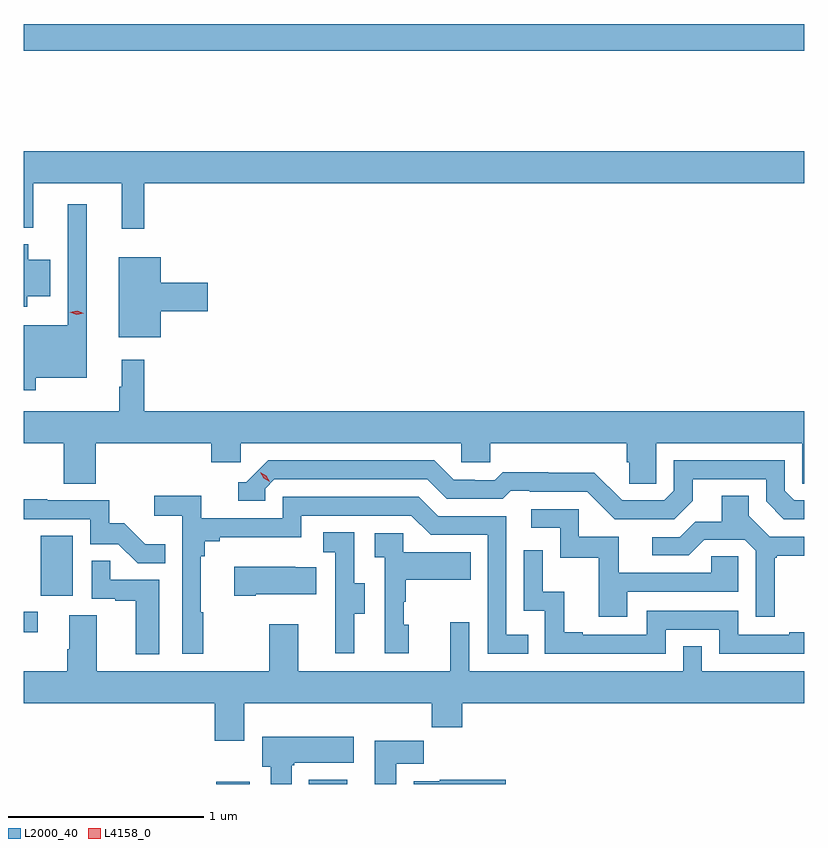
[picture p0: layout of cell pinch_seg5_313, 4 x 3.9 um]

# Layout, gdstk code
import gdstk
lib = gdstk.Library(unit=1e-6, precision=1e-09)
def R(c, l, rs):  # rectangles x0, y0, x1, y1
    for r in rs: c.add(gdstk.rectangle(r[:2], r[2:], *l))
def P(c, l, *ps):  # polygons
    for p in ps: c.add(gdstk.Polygon(p, *l))
L2000_40 = (2000, 40)
L4158_0 = (4158, 0)

pinch_seg5_313 = lib.new_cell('pinch_seg5_313')
R(pinch_seg5_313, L2000_40, [(913.028,882.985,913.198,882.997), (913.502,882.985,913.699,883.006), (912.041,883.764,912.112,883.869), (912.128,883.95,912.292,884.257), (912.041,886.744,916.041,886.88)])
P(pinch_seg5_313, L2000_40, [(912.659,886.064),(916.041,886.064),(916.041,886.228),(912.041,886.228),(912.041,885.836),(912.089,885.836),(912.089,886.064),(912.542,886.064),(912.542,885.831),(912.659,885.831)],
  [(912.103,885.068),(912.364,885.068),(912.364,885.955),(912.267,885.955),(912.267,885.337),(912.041,885.337),(912.041,885.003),(912.103,885.003)],
  [(912.058,885.485),(912.178,885.485),(912.178,885.673),(912.064,885.673),(912.064,885.751),(912.041,885.751),(912.041,885.432),(912.058,885.432)],
  [(912.742,885.407),(912.985,885.407),(912.985,885.554),(912.742,885.554),(912.742,885.685),(912.527,885.685),(912.527,885.275),(912.742,885.275)],
  [(912.659,885.16),(912.542,885.16),(912.542,885.02),(912.531,885.02),(912.531,884.896),(912.041,884.896),(912.041,884.732),(912.245,884.732),(912.245,884.524),(912.41,884.524),(912.41,884.732),(913.001,884.732),(913.001,884.634),(913.152,884.634),(913.152,884.732),(914.283,884.732),(914.283,884.634),(914.433,884.634),(914.433,884.732),(915.131,884.732),(915.131,884.634),(915.145,884.634),(915.145,884.524),(915.282,884.524),(915.282,884.732),(916.032,884.732),(916.032,884.524),(916.041,884.524),(916.041,884.896),(912.659,884.896)],
  [(915.469,884.437),(915.469,884.547),(915.846,884.547),(915.846,884.433),(915.936,884.343),(916.041,884.343),(916.041,884.439),(915.99,884.439),(915.942,884.487),(915.942,884.643),(915.372,884.643),(915.372,884.487),(915.324,884.439),(915.108,884.439),(914.966,884.581),(914.73,884.581),(914.73,884.584),(914.497,884.584),(914.455,884.541),(914.352,884.541),(914.352,884.544),(914.245,884.544),(914.146,884.643),(913.293,884.643),(913.182,884.532),(913.139,884.532),(913.139,884.436),(913.278,884.436),(913.278,884.499),(913.326,884.547),(914.109,884.547),(914.208,884.448),(914.497,884.448),(914.536,884.487),(914.635,884.487),(914.635,884.484),(914.928,884.484),(915.069,884.343),(915.375,884.343)],
  [(915.889,884.145),(915.901,884.145),(915.901,884.156),(916.041,884.156),(916.041,884.253),(915.864,884.253),(915.757,884.36),(915.757,884.462),(915.617,884.462),(915.617,884.33),(915.482,884.33),(915.402,884.25),(915.261,884.25),(915.261,884.157),(915.448,884.157),(915.529,884.238),(915.735,884.238),(915.792,884.181),(915.792,883.842),(915.889,883.842)],
  [(912.961,883.865),(912.949,883.865),(912.949,884.153),(912.968,884.153),(912.968,884.23),(913.045,884.23),(913.045,884.249),(913.464,884.249),(913.464,884.361),(914.028,884.361),(914.127,884.262),(914.418,884.262),(914.418,883.653),(914.627,883.653),(914.627,883.749),(914.514,883.749),(914.514,884.358),(914.164,884.358),(914.065,884.457),(913.368,884.457),(913.368,884.346),(912.95,884.346),(912.95,884.462),(912.711,884.462),(912.711,884.36),(912.852,884.36),(912.852,883.653),(912.961,883.653)],
  [(912.767,884.215),(912.663,884.215),(912.556,884.322),(912.48,884.322),(912.48,884.439),(912.161,884.439),(912.161,884.444),(912.041,884.444),(912.041,884.343),(912.381,884.343),(912.381,884.214),(912.526,884.214),(912.624,884.116),(912.767,884.116)],
  [(915.133,883.971),(915.702,883.971),(915.702,884.151),(915.565,884.151),(915.565,884.067),(915.091,884.067),(915.091,884.253),(914.886,884.253),(914.886,884.394),(914.643,884.394),(914.643,884.298),(914.79,884.298),(914.79,884.145),(914.989,884.145),(914.989,883.842),(915.133,883.842)],
  [(913.735,883.858),(913.789,883.858),(913.789,884.013),(913.734,884.013),(913.734,884.276),(913.575,884.276),(913.575,884.173),(913.638,884.173),(913.638,883.869),(913.637,883.869),(913.637,883.656),(913.735,883.656)],
  [(914.014,883.8),(913.989,883.8),(913.989,883.919),(913.999,883.919),(913.999,884.033),(914.333,884.033),(914.333,884.173),(913.986,884.173),(913.986,884.271),(913.839,884.271),(913.839,884.147),(913.89,884.147),(913.89,883.656),(914.014,883.656)],
  [(915.33,883.776),(915.606,883.776),(915.606,883.653),(916.041,883.653),(916.041,883.762),(915.965,883.762),(915.965,883.749),(915.702,883.749),(915.702,883.872),(915.234,883.872),(915.234,883.749),(914.905,883.749),(914.905,883.762),(914.81,883.762),(914.81,883.97),(914.7,883.97),(914.7,884.182),(914.604,884.182),(914.604,883.872),(914.712,883.872),(914.712,883.653),(915.33,883.653)],
  [(912.736,884.031),(912.485,884.031),(912.485,884.129),(912.39,884.129),(912.39,883.935),(912.511,883.935),(912.511,883.923),(912.614,883.923),(912.614,883.649),(912.736,883.649)],
  [(913.231,883.958),(913.541,883.958),(913.541,884.095),(913.433,884.095),(913.433,884.098),(913.119,884.098),(913.119,883.951),(913.231,883.951)],
  [(913.171,883.4),(914.131,883.4),(914.131,883.276),(914.288,883.276),(914.288,883.4),(916.041,883.4),(916.041,883.564),(915.516,883.564),(915.516,883.691),(915.42,883.691),(915.42,883.564),(914.325,883.564),(914.325,883.813),(914.228,883.813),(914.228,883.564),(913.447,883.564),(913.447,883.804),(913.3,883.804),(913.3,883.564),(912.415,883.564),(912.415,883.85),(912.275,883.85),(912.275,883.676),(912.263,883.676),(912.263,883.564),(912.041,883.564),(912.041,883.4),(913.019,883.4),(913.019,883.206),(913.171,883.206)],
  [(913.414,883.081),(913.428,883.081),(913.428,883.094),(913.732,883.094),(913.732,883.228),(913.262,883.228),(913.262,883.074),(913.307,883.074),(913.307,882.985),(913.414,882.985)],
  [(913.951,883.088),(914.09,883.088),(914.09,883.207),(913.841,883.207),(913.841,882.985),(913.951,882.985)],
  [(914.512,883.006),(914.172,883.006),(914.172,883),(914.039,883),(914.039,882.985),(914.512,882.985)])
P(pinch_seg5_313, L4158_0, [(913.302,884.533),(913.271,884.552),(913.254,884.584),(913.254,884.584),(913.254,884.584),(913.285,884.566),(913.302,884.533),(913.302,884.533)],
  [(912.312,885.39),(912.277,885.402),(912.277,885.402),(912.277,885.402),(912.314,885.41),(912.348,885.397),(912.348,885.397),(912.348,885.397)])

lib.write_gds('pinch_seg5_313.gds')
